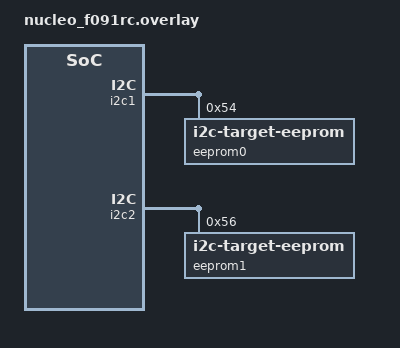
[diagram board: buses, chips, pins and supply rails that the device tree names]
/* SPDX-License-Identifier: Apache-2.0 */

/* I2C bus pins are exposed on the ST morpho header.
 *
 *  Bus        SDA               SCL
 *          Pin   Hdr         Pin   Hdr
 *  i2c1    PB9   CN10:5      PB8   CN10:3
 *  i2c2    PA12  CN10:12     PA11  CN10:14
 *
 * Short Pin PB9 to PA12, and PB8 to PA11, for the test to pass.
 */

&i2c1 {
	eeprom0: eeprom@54 {
		compatible = "zephyr,i2c-target-eeprom";
		reg = <0x54>;
		size = <1024>;
	};
};


&i2c2 {
	/* i2c2 is disabled by default because of pin conflict with can1 */
	status = "okay";
	eeprom1: eeprom@56 {
		compatible = "zephyr,i2c-target-eeprom";
		reg = <0x56>;
		size = <1024>;
	};
};

&can1 {
	/* can1 shares the pins with i2c2 and must be disabled */
	status = "disabled";
};
